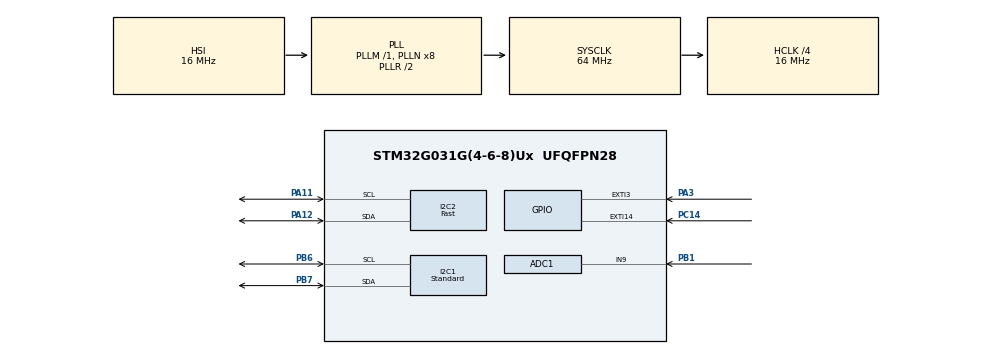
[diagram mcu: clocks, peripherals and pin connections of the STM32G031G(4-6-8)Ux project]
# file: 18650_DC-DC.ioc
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ADC1.Channel-0\#ChannelRegularConversion=ADC_CHANNEL_9
ADC1.NbrOfConversionFlag=1
ADC1.Rank-0\#ChannelRegularConversion=1
ADC1.SamplingTime-0\#ChannelRegularConversion=ADC_SAMPLINGTIME_COMMON_1
ADC1.SelectedChannel=ADC_CHANNEL_9
ADC1.master=1
I2C1.I2C_Speed_Mode=I2C_Standard
I2C1.Timing=0x00303D5B
I2C2.I2C_Speed_Mode=I2C_Fast
I2C2.Timing=0x0010061A
Mcu.Family=STM32G0
Mcu.Name=STM32G031G(4-6-8)Ux
Mcu.Package=UFQFPN28
NVIC.EXTI2_3_IRQn=true\:0\:0\:false\:false\:true\:true\:true
PA11\ [PA9].Mode=I2C
PA11\ [PA9].Signal=I2C2_SCL
PA12\ [PA10].Mode=I2C
PA12\ [PA10].Signal=I2C2_SDA
PA13.Mode=Serial_Wire
PA13.Signal=SYS_SWDIO
PA14-BOOT0.Mode=Serial_Wire
PA14-BOOT0.Signal=SYS_SWCLK
PA3.GPIO_ModeDefaultEXTI=GPIO_MODE_IT_FALLING
PA3.GPIO_PuPd=GPIO_PULLUP
PA3.Signal=GPXTI3
PB1.Mode=IN9
PB1.Signal=ADC1_IN9
PB6.Mode=I2C
PB6.Signal=I2C1_SCL
PB7.Mode=I2C
PB7.Signal=I2C1_SDA
PC14-OSC32_IN\ (PC14).Signal=GPXTI14
ProjectManager.HeapSize=0x200
ProjectManager.StackSize=0x400
ProjectManager.TargetToolchain=STM32CubeIDE
RCC.ADCFreq_Value=64000000
RCC.AHBCLKDivider=RCC_SYSCLK_DIV4
RCC.AHBFreq_Value=16000000
RCC.CortexFreq_Value=16000000
RCC.EXTERNAL_CLOCK_VALUE=12288000
RCC.HCLKFreq_Value=16000000
RCC.HSE_VALUE=8000000
RCC.HSI_VALUE=16000000
RCC.LSE_VALUE=32768
RCC.SYSCLKFreq_VALUE=64000000
RCC.SYSCLKSource=RCC_SYSCLKSOURCE_PLLCLK
RCC.VCOOutputFreq_Value=128000000
board=custom

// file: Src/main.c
/* USER CODE BEGIN Header */
/**
  ******************************************************************************
  * @file           : main.c
  * @brief          : Main program body
  ******************************************************************************
  * @attention
  *
  * <h2><center>&copy; Copyright (c) 2021 STMicroelectronics.
  * All rights reserved.</center></h2>
  *
  * This software component is licensed by ST under BSD 3-Clause license,
  * the "License"; You may not use this file except in compliance with the
  * License. You may obtain a copy of the License at:
  *                        opensource.org/licenses/BSD-3-Clause
  *
  ******************************************************************************
  */
/* USER CODE END Header */
#include "main.h"

/* USER CODE BEGIN Includes */
#include "bq27441/bq27441-g1.h"
#include "bq27441/i2c.h"

#include "ssd1306/ssd1306.h"
#include <stdio.h>
/* USER CODE END Includes */

ADC_HandleTypeDef hadc1;

I2C_HandleTypeDef hi2c1;
I2C_HandleTypeDef hi2c2;

/* USER CODE BEGIN PV */
bq27441_g1_t bq27441_g1;

uint8_t mode = 1;      // visualization mode
uint32_t lastTick = 0; // used to avoid button bounce effect
/* USER CODE END PV */

void SystemClock_Config(void);
static void MX_GPIO_Init(void);
static void MX_ADC1_Init(void);
static void MX_I2C1_Init(void);
static void MX_I2C2_Init(void);
/* USER CODE BEGIN PFP */
void showVoltage();
void showHeader();
void showAverageCurrent();
void showAveragePower();
void showSOH();
void showDesignCapacity();
void showFullChargeCapacity();
void showRemainingCapacity();
/* USER CODE END PFP */

int main(void)
{

  /* MCU Configuration--------------------------------------------------------*/

  /* Reset of all peripherals, Initializes the Flash interface and the Systick. */
  HAL_Init();

  /* Configure the system clock */
  SystemClock_Config();

  /* Initialize all configured peripherals */
  MX_GPIO_Init();
  MX_ADC1_Init();
  MX_I2C1_Init();
  MX_I2C2_Init();
  /* USER CODE BEGIN 2 */

  HAL_Delay(100);
  SSD1306_Init();
  // HAL_Delay(100);
  SSD1306_ON();
  SSD1306_Fill(0);
  SSD1306_UpdateScreen();

  bq27441_g1.Read = i2cReadRegister;
  bq27441_g1.Write = i2cWriteRegister;

  char msg[] = "bat config ...";
  SSD1306_Fill(0);
  SSD1306_GotoXY(0, 10);
  SSD1306_Puts(msg, &Font_7x10, 1);
  SSD1306_UpdateScreen();

  BQ27441_G1_Setup(&bq27441_g1, 3400, 3200);

  /* USER CODE END 2 */

  /* Infinite loop */
  /* USER CODE BEGIN WHILE */
  while (1)
  {

    // Execute visualization mode
    SSD1306_Fill(0);
    showHeader();
    switch (mode)
    {
    case 1:
      showAverageCurrent();
      break;
    case 2:
      showAveragePower();
      break;
    case 3:
      showRemainingCapacity();
      break;
    case 4:
      showVoltage();
      break;
    case 5:
      showDesignCapacity();
      break;
    case 6:
      showFullChargeCapacity();
      break;
    case 7:
      showSOH();
      break;
    default:
      break;
    }

    SSD1306_UpdateScreen();

    HAL_Delay(500);
    /* USER CODE END WHILE */

  }
}

void SystemClock_Config(void)
{
  RCC_OscInitTypeDef RCC_OscInitStruct = {0};
  RCC_ClkInitTypeDef RCC_ClkInitStruct = {0};
  RCC_PeriphCLKInitTypeDef PeriphClkInit = {0};

  /** Configure the main internal regulator output voltage
  */
  HAL_PWREx_ControlVoltageScaling(PWR_REGULATOR_VOLTAGE_SCALE1);
  /** Initializes the RCC Oscillators according to the specified parameters
  * in the RCC_OscInitTypeDef structure.
  */
  RCC_OscInitStruct.OscillatorType = RCC_OSCILLATORTYPE_HSI;
  RCC_OscInitStruct.HSIState = RCC_HSI_ON;
  RCC_OscInitStruct.HSIDiv = RCC_HSI_DIV1;
  RCC_OscInitStruct.HSICalibrationValue = RCC_HSICALIBRATION_DEFAULT;
  RCC_OscInitStruct.PLL.PLLState = RCC_PLL_ON;
  RCC_OscInitStruct.PLL.PLLSource = RCC_PLLSOURCE_HSI;
  RCC_OscInitStruct.PLL.PLLM = RCC_PLLM_DIV1;
  RCC_OscInitStruct.PLL.PLLN = 8;
  RCC_OscInitStruct.PLL.PLLP = RCC_PLLP_DIV2;
  RCC_OscInitStruct.PLL.PLLQ = RCC_PLLQ_DIV2;
  RCC_OscInitStruct.PLL.PLLR = RCC_PLLR_DIV2;
  if (HAL_RCC_OscConfig(&RCC_OscInitStruct) != HAL_OK)
  {
    Error_Handler();
  }
  /** Initializes the CPU, AHB and APB buses clocks
  */
  RCC_ClkInitStruct.ClockType = RCC_CLOCKTYPE_HCLK | RCC_CLOCKTYPE_SYSCLK | RCC_CLOCKTYPE_PCLK1;
  RCC_ClkInitStruct.SYSCLKSource = RCC_SYSCLKSOURCE_PLLCLK;
  RCC_ClkInitStruct.AHBCLKDivider = RCC_SYSCLK_DIV4;
  RCC_ClkInitStruct.APB1CLKDivider = RCC_HCLK_DIV1;

  if (HAL_RCC_ClockConfig(&RCC_ClkInitStruct, FLASH_LATENCY_0) != HAL_OK)
  {
    Error_Handler();
  }
  /** Initializes the peripherals clocks
  */
  PeriphClkInit.PeriphClockSelection = RCC_PERIPHCLK_I2C1 | RCC_PERIPHCLK_ADC;
  PeriphClkInit.I2c1ClockSelection = RCC_I2C1CLKSOURCE_PCLK1;
  PeriphClkInit.AdcClockSelection = RCC_ADCCLKSOURCE_SYSCLK;
  if (HAL_RCCEx_PeriphCLKConfig(&PeriphClkInit) != HAL_OK)
  {
    Error_Handler();
  }
}

static void MX_ADC1_Init(void)
{

  ADC_ChannelConfTypeDef sConfig = {0};

  /** Configure the global features of the ADC (Clock, Resolution, Data Alignment and number of conversion)
  */
  hadc1.Instance = ADC1;
  hadc1.Init.ClockPrescaler = ADC_CLOCK_SYNC_PCLK_DIV2;
  hadc1.Init.Resolution = ADC_RESOLUTION_12B;
  hadc1.Init.DataAlign = ADC_DATAALIGN_RIGHT;
  hadc1.Init.ScanConvMode = ADC_SCAN_DISABLE;
  hadc1.Init.EOCSelection = ADC_EOC_SINGLE_CONV;
  hadc1.Init.LowPowerAutoWait = DISABLE;
  hadc1.Init.LowPowerAutoPowerOff = DISABLE;
  hadc1.Init.ContinuousConvMode = DISABLE;
  hadc1.Init.NbrOfConversion = 1;
  hadc1.Init.DiscontinuousConvMode = DISABLE;
  hadc1.Init.ExternalTrigConv = ADC_SOFTWARE_START;
  hadc1.Init.ExternalTrigConvEdge = ADC_EXTERNALTRIGCONVEDGE_NONE;
  hadc1.Init.DMAContinuousRequests = DISABLE;
  hadc1.Init.Overrun = ADC_OVR_DATA_PRESERVED;
  hadc1.Init.SamplingTimeCommon1 = ADC_SAMPLETIME_1CYCLE_5;
  hadc1.Init.SamplingTimeCommon2 = ADC_SAMPLETIME_1CYCLE_5;
  hadc1.Init.OversamplingMode = DISABLE;
  hadc1.Init.TriggerFrequencyMode = ADC_TRIGGER_FREQ_HIGH;
  if (HAL_ADC_Init(&hadc1) != HAL_OK)
  {
    Error_Handler();
  }
  /** Configure Regular Channel
  */
  sConfig.Channel = ADC_CHANNEL_9;
  sConfig.Rank = ADC_REGULAR_RANK_1;
  sConfig.SamplingTime = ADC_SAMPLINGTIME_COMMON_1;
  if (HAL_ADC_ConfigChannel(&hadc1, &sConfig) != HAL_OK)
  {
    Error_Handler();
  }
}

static void MX_I2C1_Init(void)
{

  hi2c1.Instance = I2C1;
  hi2c1.Init.Timing = 0x00303D5B;
  hi2c1.Init.OwnAddress1 = 0;
  hi2c1.Init.AddressingMode = I2C_ADDRESSINGMODE_7BIT;
  hi2c1.Init.DualAddressMode = I2C_DUALADDRESS_DISABLE;
  hi2c1.Init.OwnAddress2 = 0;
  hi2c1.Init.OwnAddress2Masks = I2C_OA2_NOMASK;
  hi2c1.Init.GeneralCallMode = I2C_GENERALCALL_DISABLE;
  hi2c1.Init.NoStretchMode = I2C_NOSTRETCH_DISABLE;
  if (HAL_I2C_Init(&hi2c1) != HAL_OK)
  {
    Error_Handler();
  }
  /** Configure Analogue filter
  */
  if (HAL_I2CEx_ConfigAnalogFilter(&hi2c1, I2C_ANALOGFILTER_ENABLE) != HAL_OK)
  {
    Error_Handler();
  }
  /** Configure Digital filter
  */
  if (HAL_I2CEx_ConfigDigitalFilter(&hi2c1, 0) != HAL_OK)
  {
    Error_Handler();
  }
}

static void MX_I2C2_Init(void)
{

  hi2c2.Instance = I2C2;
  hi2c2.Init.Timing = 0x0010061A;
  hi2c2.Init.OwnAddress1 = 0;
  hi2c2.Init.AddressingMode = I2C_ADDRESSINGMODE_7BIT;
  hi2c2.Init.DualAddressMode = I2C_DUALADDRESS_DISABLE;
  hi2c2.Init.OwnAddress2 = 0;
  hi2c2.Init.OwnAddress2Masks = I2C_OA2_NOMASK;
  hi2c2.Init.GeneralCallMode = I2C_GENERALCALL_DISABLE;
  hi2c2.Init.NoStretchMode = I2C_NOSTRETCH_DISABLE;
  if (HAL_I2C_Init(&hi2c2) != HAL_OK)
  {
    Error_Handler();
  }
  /** Configure Analogue filter
  */
  if (HAL_I2CEx_ConfigAnalogFilter(&hi2c2, I2C_ANALOGFILTER_ENABLE) != HAL_OK)
  {
    Error_Handler();
  }
  /** Configure Digital filter
  */
  if (HAL_I2CEx_ConfigDigitalFilter(&hi2c2, 0) != HAL_OK)
  {
    Error_Handler();
  }
}

static void MX_GPIO_Init(void)
{
  GPIO_InitTypeDef GPIO_InitStruct = {0};

  /* GPIO Ports Clock Enable */
  __HAL_RCC_GPIOC_CLK_ENABLE();
  __HAL_RCC_GPIOA_CLK_ENABLE();
  __HAL_RCC_GPIOB_CLK_ENABLE();

  /*Configure GPIO pin : PC14 */
  GPIO_InitStruct.Pin = GPIO_PIN_14;
  GPIO_InitStruct.Mode = GPIO_MODE_IT_RISING;
  GPIO_InitStruct.Pull = GPIO_NOPULL;
  HAL_GPIO_Init(GPIOC, &GPIO_InitStruct);

  /*Configure GPIO pin : PA3 */
  GPIO_InitStruct.Pin = GPIO_PIN_3;
  GPIO_InitStruct.Mode = GPIO_MODE_IT_FALLING;
  GPIO_InitStruct.Pull = GPIO_PULLUP;
  HAL_GPIO_Init(GPIOA, &GPIO_InitStruct);

  /* EXTI interrupt init*/
  HAL_NVIC_SetPriority(EXTI2_3_IRQn, 0, 0);
  HAL_NVIC_EnableIRQ(EXTI2_3_IRQn);
}

/* USER CODE BEGIN 4 */
void HAL_GPIO_EXTI_Falling_Callback(uint16_t GPIO_Pin)
{
  if (GPIO_Pin == GPIO_PIN_3)
  {

    // Check clock ticks between interrupts
    // to avoid bounce effect
    uint32_t tick = HAL_GetTick();
    uint32_t diff = tick - lastTick;
    if (diff > 300)
    {

      mode++;
      if (mode > 7)
      {
        mode = 1;
      }
    }

    lastTick = tick;
  }
}

void showVoltage()
{
  uint16_t voltage = 0;
  voltage = BQ27441_G1_GetVoltage(&bq27441_g1);

  char tmp[20];
  sprintf(tmp, "V: %d mV", voltage);
  SSD1306_GotoXY(0, 13);
  SSD1306_Puts(tmp, &Font_11x18, 1);
}
void showHeader()
{
  uint16_t soc = 0;
  float temp = 0;
  soc = BQ27441_G1_GetStateOfChargeUnfiltered(&bq27441_g1);
  temp = BQ27441_G1_GetTemperature(&bq27441_g1);

  char temperature[9];
  sprintf(temperature, "%.1f ^C", temp);
  SSD1306_GotoXY(0, 0);
  SSD1306_Puts(temperature, &Font_7x10, 1);

  char remain[4];
  sprintf(remain, "%d%%", soc);
  SSD1306_GotoXY(98, 0);
  SSD1306_Puts(remain, &Font_7x10, 1);
}
void showAverageCurrent()
{
  int16_t avgCur = 0;
  avgCur = BQ27441_G1_GetAverageCurrent(&bq27441_g1);

  char tmp[30];
  sprintf(tmp, "C:%d mA", avgCur);
  SSD1306_GotoXY(0, 13);
  SSD1306_Puts(tmp, &Font_11x18, 1);
}

void showAveragePower()
{

  int16_t avgPwr = 0;
  avgPwr = BQ27441_G1_GetAveragePower(&bq27441_g1);

  char tmp[30];
  sprintf(tmp, "P:%d mW", avgPwr);
  SSD1306_GotoXY(0, 13);
  SSD1306_Puts(tmp, &Font_11x18, 1);
}

void showSOH()
{
  uint8_t soh = 0;
  i2c_read(0x55, 0x20, &soh, 1);

  char tmp[20];
  sprintf(tmp, "HLTH: %d%%", soh);
  SSD1306_GotoXY(0, 13);
  SSD1306_Puts(tmp, &Font_11x18, 1);
}
void showDesignCapacity()
{
  uint16_t descap = 0;
  descap = BQ27441_G1_GetDesignCapacity(&bq27441_g1);

  char tmp[20];
  sprintf(tmp, "D.C:%d mA", descap);
  SSD1306_GotoXY(0, 13);
  SSD1306_Puts(tmp, &Font_11x18, 1);
}
void showFullChargeCapacity()
{
  uint16_t fullcap = 0;
  fullcap = BQ27441_G1_GetFullChargeCapacityUnfiltered(&bq27441_g1);

  char tmp[20];
  sprintf(tmp, "F.C:%d mA", fullcap);
  SSD1306_GotoXY(0, 13);
  SSD1306_Puts(tmp, &Font_11x18, 1);
}
void showRemainingCapacity()
{
  uint16_t remcap = 0;
  remcap = BQ27441_G1_GetRemainingCapacityUnfiltered(&bq27441_g1);

  char tmp[20];
  sprintf(tmp, "R.C:%d mA", remcap);
  SSD1306_GotoXY(0, 13);
  SSD1306_Puts(tmp, &Font_11x18, 1);
}
/* USER CODE END 4 */

void Error_Handler(void)
{
  __disable_irq();
  while (1)
  {
  }
}

/************************ (C) COPYRIGHT STMicroelectronics *****END OF FILE****/
